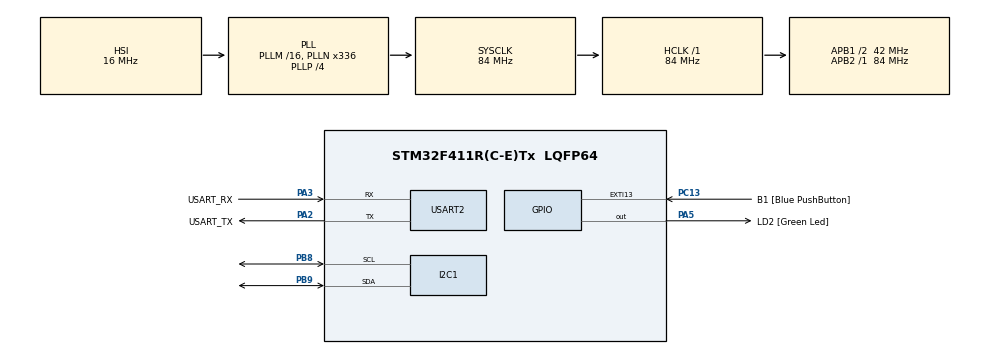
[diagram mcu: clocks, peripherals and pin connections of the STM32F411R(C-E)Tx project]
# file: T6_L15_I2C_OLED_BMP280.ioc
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Dma.I2C1_TX.0.Direction=DMA_MEMORY_TO_PERIPH
Dma.I2C1_TX.0.FIFOMode=DMA_FIFOMODE_DISABLE
Dma.I2C1_TX.0.Instance=DMA1_Stream1
Dma.I2C1_TX.0.MemDataAlignment=DMA_MDATAALIGN_BYTE
Dma.I2C1_TX.0.MemInc=DMA_MINC_ENABLE
Dma.I2C1_TX.0.Mode=DMA_NORMAL
Dma.I2C1_TX.0.PeriphDataAlignment=DMA_PDATAALIGN_BYTE
Dma.I2C1_TX.0.PeriphInc=DMA_PINC_DISABLE
Dma.I2C1_TX.0.Priority=DMA_PRIORITY_LOW
Dma.Request0=I2C1_TX
I2C1.I2C_Mode=I2C_Fast
Mcu.Family=STM32F4
Mcu.Name=STM32F411R(C-E)Tx
Mcu.Package=LQFP64
NVIC.DMA1_Stream1_IRQn=true\:0\:0\:false\:true\:true\:2\:false\:true
NVIC.I2C1_EV_IRQn=true\:0\:0\:false\:true\:true\:1\:true\:true
NVIC.PriorityGroup=NVIC_PRIORITYGROUP_0
PA13.GPIO_Label=TMS
PA13.Mode=Serial_Wire
PA13.Signal=SYS_JTMS-SWDIO
PA14.GPIO_Label=TCK
PA14.Mode=Serial_Wire
PA14.Signal=SYS_JTCK-SWCLK
PA2.GPIO_Label=USART_TX
PA2.Mode=Asynchronous
PA2.Signal=USART2_TX
PA3.GPIO_Label=USART_RX
PA3.Mode=Asynchronous
PA3.Signal=USART2_RX
PA5.GPIO_Label=LD2 [Green Led]
PA5.Signal=GPIO_Output
PB3.GPIO_Label=SWO
PB3.Signal=SYS_JTDO-SWO
PB8.Mode=I2C
PB8.Signal=I2C1_SCL
PB9.Mode=I2C
PB9.Signal=I2C1_SDA
PC13-ANTI_TAMP.GPIO_Label=B1 [Blue PushButton]
PC13-ANTI_TAMP.GPIO_ModeDefaultEXTI=GPIO_MODE_IT_FALLING
PC13-ANTI_TAMP.Signal=GPXTI13
PC14-OSC32_IN.Mode=LSE-External-Oscillator
PC14-OSC32_IN.Signal=RCC_OSC32_IN
PC15-OSC32_OUT.Mode=LSE-External-Oscillator
PC15-OSC32_OUT.Signal=RCC_OSC32_OUT
PH0\ -\ OSC_IN.Mode=HSE-External-Clock-Source
PH0\ -\ OSC_IN.Signal=RCC_OSC_IN
PH1\ -\ OSC_OUT.Mode=HSE-External-Clock-Source
PH1\ -\ OSC_OUT.Signal=RCC_OSC_OUT
ProjectManager.HeapSize=0x200
ProjectManager.StackSize=0x400
ProjectManager.TargetToolchain=STM32CubeIDE
RCC.48MHZClocksFreq_Value=84000000
RCC.AHBFreq_Value=84000000
RCC.APB1CLKDivider=RCC_HCLK_DIV2
RCC.APB1Freq_Value=42000000
RCC.APB1TimFreq_Value=84000000
RCC.APB2Freq_Value=84000000
RCC.APB2TimFreq_Value=84000000
RCC.CortexFreq_Value=84000000
RCC.FLatency-AdvancedSettings=FLASH_LATENCY_2
RCC.HCLKFreq_Value=84000000
RCC.HSE_VALUE=8000000
RCC.HSI_VALUE=16000000
RCC.PLLN=336
RCC.PLLP=RCC_PLLP_DIV4
RCC.SYSCLKFreq_VALUE=84000000
RCC.SYSCLKSource=RCC_SYSCLKSOURCE_PLLCLK
RCC.VCOOutputFreq_Value=336000000
USART2.VirtualMode=VM_ASYNC
board=NUCLEO-F411RE

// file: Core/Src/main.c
/* USER CODE BEGIN Header */
/**
  ******************************************************************************
  * @file           : main.c
  * @brief          : Main program body
  ******************************************************************************
  * @attention
  *
  * Copyright (c) 2022 STMicroelectronics.
  * All rights reserved.
  *
  * This software is licensed under terms that can be found in the LICENSE file
  * in the root directory of this software component.
  * If no LICENSE file comes with this software, it is provided AS-IS.
  *
  ******************************************************************************
  */
/* USER CODE END Header */
#include "main.h"
#include "dma.h"
#include "i2c.h"
#include "usart.h"
#include "gpio.h"

/* USER CODE BEGIN Includes */
#include "SSD1306_OLED.h"
#include "GFX_BW.h"
#include "fonts/fonts.h"
#include "bmp280.h"
#include "stdio.h"
/* USER CODE END Includes */

/* USER CODE BEGIN PTD */
#define BMP280_ADDRESS 0x76
/* USER CODE END PTD */

/* USER CODE BEGIN PV */
BMP280_t Bmp280;
float Pressure,Temp;

uint32_t SoftTimerBMP;
uint32_t SoftTimerOLED;

char Message[32];
/* USER CODE END PV */

void SystemClock_Config(void);
static void MX_NVIC_Init(void);

int main(void)
{

  /* MCU Configuration--------------------------------------------------------*/

  /* Reset of all peripherals, Initializes the Flash interface and the Systick. */
  HAL_Init();

  /* Configure the system clock */
  SystemClock_Config();

  /* Initialize all configured peripherals */
  MX_GPIO_Init();
  MX_USART2_UART_Init();
  MX_DMA_Init();
  MX_I2C1_Init();

  /* Initialize interrupts */
  MX_NVIC_Init();
  /* USER CODE BEGIN 2 */
  SSD1306_Init(&hi2c1);
  BMP280_Init(&Bmp280, &hi2c1, BMP280_ADDRESS);
  GFX_SetFont(font_8x5);

  SSD1306_Clear(BLACK);

  SSD1306_Display();

  SoftTimerBMP = HAL_GetTick();
  SoftTimerOLED= HAL_GetTick();

  /* USER CODE END 2 */

  /* Infinite loop */
  /* USER CODE BEGIN WHILE */
  while (1)
  {
	  //
	  //BMP280
	  //
	  if((HAL_GetTick() - SoftTimerBMP) > 10)
	  {
		  SoftTimerBMP = HAL_GetTick();
		  if(Bmp280.bmp_i2c->State == HAL_I2C_STATE_READY)
		  {
			  BMP280_ReadPressureAndTemperature(&Bmp280, &Pressure, &Temp);
		  }
	  }
	  //
	  //OLED
	  //
	  if((HAL_GetTick() - SoftTimerOLED) > 100)
	  {
		  SoftTimerOLED = HAL_GetTick();
		  sprintf(Message, "Press: %.2f hPa", Pressure);
		  GFX_DrawString(0,0,Message,WHITE,0);

		  sprintf(Message, "Temp: %.2f C", Temp);
		  GFX_DrawString(0,10,Message,WHITE,0);

		  SSD1306_Display();
	  }

    /* USER CODE END WHILE */

  }
}

void SystemClock_Config(void)
{
  RCC_OscInitTypeDef RCC_OscInitStruct = {0};
  RCC_ClkInitTypeDef RCC_ClkInitStruct = {0};

  /** Configure the main internal regulator output voltage
  */
  __HAL_RCC_PWR_CLK_ENABLE();
  __HAL_PWR_VOLTAGESCALING_CONFIG(PWR_REGULATOR_VOLTAGE_SCALE1);
  /** Initializes the RCC Oscillators according to the specified parameters
  * in the RCC_OscInitTypeDef structure.
  */
  RCC_OscInitStruct.OscillatorType = RCC_OSCILLATORTYPE_HSI;
  RCC_OscInitStruct.HSIState = RCC_HSI_ON;
  RCC_OscInitStruct.HSICalibrationValue = RCC_HSICALIBRATION_DEFAULT;
  RCC_OscInitStruct.PLL.PLLState = RCC_PLL_ON;
  RCC_OscInitStruct.PLL.PLLSource = RCC_PLLSOURCE_HSI;
  RCC_OscInitStruct.PLL.PLLM = 16;
  RCC_OscInitStruct.PLL.PLLN = 336;
  RCC_OscInitStruct.PLL.PLLP = RCC_PLLP_DIV4;
  RCC_OscInitStruct.PLL.PLLQ = 4;
  if (HAL_RCC_OscConfig(&RCC_OscInitStruct) != HAL_OK)
  {
    Error_Handler();
  }
  /** Initializes the CPU, AHB and APB buses clocks
  */
  RCC_ClkInitStruct.ClockType = RCC_CLOCKTYPE_HCLK|RCC_CLOCKTYPE_SYSCLK
                              |RCC_CLOCKTYPE_PCLK1|RCC_CLOCKTYPE_PCLK2;
  RCC_ClkInitStruct.SYSCLKSource = RCC_SYSCLKSOURCE_PLLCLK;
  RCC_ClkInitStruct.AHBCLKDivider = RCC_SYSCLK_DIV1;
  RCC_ClkInitStruct.APB1CLKDivider = RCC_HCLK_DIV2;
  RCC_ClkInitStruct.APB2CLKDivider = RCC_HCLK_DIV1;

  if (HAL_RCC_ClockConfig(&RCC_ClkInitStruct, FLASH_LATENCY_2) != HAL_OK)
  {
    Error_Handler();
  }
}

/**
  * @brief NVIC Configuration.
  * @retval None
  */
static void MX_NVIC_Init(void)
{
  /* I2C1_EV_IRQn interrupt configuration */
  HAL_NVIC_SetPriority(I2C1_EV_IRQn, 0, 0);
  HAL_NVIC_EnableIRQ(I2C1_EV_IRQn);
  /* DMA1_Stream1_IRQn interrupt configuration */
  HAL_NVIC_SetPriority(DMA1_Stream1_IRQn, 0, 0);
  HAL_NVIC_EnableIRQ(DMA1_Stream1_IRQn);
}

void Error_Handler(void)
{
  __disable_irq();
  while (1)
  {
  }
}
